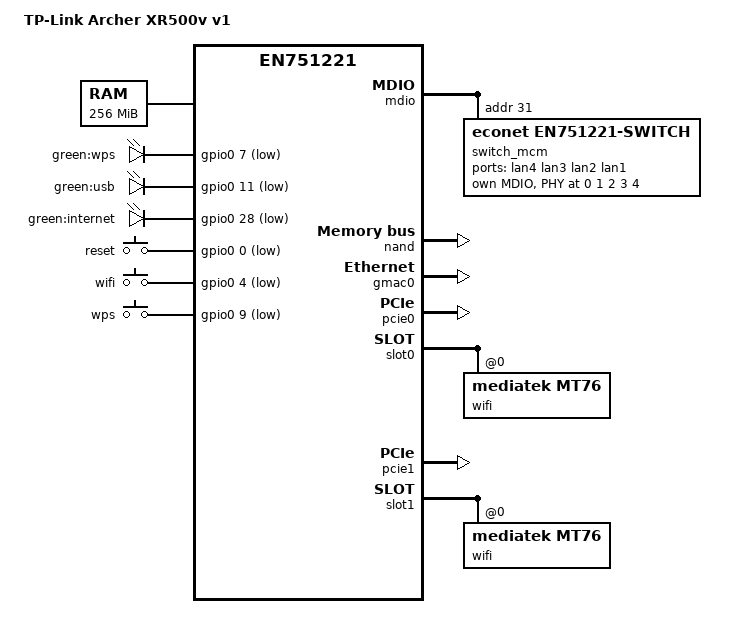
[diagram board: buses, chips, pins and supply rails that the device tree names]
// SPDX-License-Identifier: (GPL-2.0-only OR BSD-2-Clause)
/dts-v1/;

#include <dt-bindings/gpio/gpio.h>
#include <dt-bindings/input/input.h>

#include "en751221.dtsi"

/ {
	model = "TP-Link Archer XR500v v1";
	compatible = "tplink,archer-xr500v-v1", "econet,en751221";

	memory@0 {
		device_type = "memory";
		reg = <0x00000000 0x10000000>;
	};

	chosen {
		stdout-path = "/serial@1fbf0000:115200";
		linux,usable-memory-range = <0x00020000 0x0ffe0000>;
	};

	leds {
		compatible = "gpio-leds";

		led-wps {
			label = "green:wps";
			gpios = <&gpio0 7 GPIO_ACTIVE_LOW>;
		};

		led-usb {
			label = "green:usb";
			gpios = <&gpio0 11 GPIO_ACTIVE_LOW>;
		};

		led-internet {
			label = "green:internet";
			gpios = <&gpio0 28 GPIO_ACTIVE_LOW>;
		};
	};

	keys {
		compatible = "gpio-keys-polled";
		poll-interval = <20>;

		key-reset {
			label = "reset";
			linux,code = <KEY_RESTART>;
			gpios = <&gpio0 0 GPIO_ACTIVE_LOW>;
			debounce-interval = <60>;
		};

		key-wifi {
			label = "wifi";
			linux,code = <KEY_RFKILL>;
			gpios = <&gpio0 4 GPIO_ACTIVE_LOW>;
			debounce-interval = <60>;
		};

		key-wps {
			label = "wps";
			linux,code = <KEY_WPS_BUTTON>;
			gpios = <&gpio0 9 GPIO_ACTIVE_LOW>;
			debounce-interval = <60>;
		};
	};

	/*
	 * The EN751221 contains an on-die MT7530-class switch.  Its port 5
	 * cascades into the MCM switch, whose ports 1 through 4 are the four
	 * physical LAN jacks.  Port 6 of the on-die switch is the CPU conduit.
	 */
	switch_ondie: switch@1fb58000 {
		compatible = "econet,en751221-switch";
		reg = <0x1fb58000 0x8000>;
		resets = <&scuclk EN751221_GSW_RST>;
		#address-cells = <1>;
		#size-cells = <0>;
		dsa,member = <0 0>;

		ports {
			#address-cells = <1>;
			#size-cells = <0>;

			ondie_port5: port@5 {
				reg = <5>;
				phy-mode = "trgmii";
				link = <&mcm_port6>;

				fixed-link {
					speed = <1000>;
					full-duplex;
				};
			};

			port@6 {
				reg = <6>;
				label = "cpu";
				ethernet = <&gmac0>;
				phy-mode = "trgmii";

				fixed-link {
					speed = <1000>;
					full-duplex;
				};
			};
		};

		mdio {
			#address-cells = <1>;
			#size-cells = <0>;

			switch_mcm: switch@1f {
				compatible = "econet,en751221-switch";
				reg = <0x1f>;
				mediatek,mcm;
				#address-cells = <1>;
				#size-cells = <0>;
				dsa,member = <0 1>;

				ports {
					#address-cells = <1>;
					#size-cells = <0>;

					port@0 {
						reg = <0>;
						phy-mode = "gmii";
						phy-handle = <&mcmphy0>;
						status = "disabled";
					};

					port@1 {
						reg = <1>;
						label = "lan4";
						phy-mode = "gmii";
						phy-handle = <&mcmphy1>;
					};

					port@2 {
						reg = <2>;
						label = "lan3";
						phy-mode = "gmii";
						phy-handle = <&mcmphy2>;
					};

					port@3 {
						reg = <3>;
						label = "lan2";
						phy-mode = "gmii";
						phy-handle = <&mcmphy3>;
					};

					port@4 {
						reg = <4>;
						label = "lan1";
						phy-mode = "gmii";
						phy-handle = <&mcmphy4>;
					};

					mcm_port6: port@6 {
						reg = <6>;
						phy-mode = "trgmii";
						link = <&ondie_port5>;

						fixed-link {
							speed = <1000>;
							full-duplex;
						};
					};
				};

				mdio {
					#address-cells = <1>;
					#size-cells = <0>;

					mcmphy0: ethernet-phy@0 {
						compatible = "ethernet-phy-ieee802.3-c22";
						reg = <0>;
					};

					mcmphy1: ethernet-phy@1 {
						compatible = "ethernet-phy-ieee802.3-c22";
						reg = <1>;
					};

					mcmphy2: ethernet-phy@2 {
						compatible = "ethernet-phy-ieee802.3-c22";
						reg = <2>;
					};

					mcmphy3: ethernet-phy@3 {
						compatible = "ethernet-phy-ieee802.3-c22";
						reg = <3>;
					};

					mcmphy4: ethernet-phy@4 {
						compatible = "ethernet-phy-ieee802.3-c22";
						reg = <4>;
					};
				};
			};
		};
	};
};

&ethernet {
	/* The adjacent 0x1fb58000 window belongs exclusively to switch_ondie. */
	reg = <0x1fb50000 0x8000>;
	resets = <&scuclk EN751221_FE_RST>,
		 <&scuclk EN751221_FE_QDMA1_RST>,
		 <&scuclk EN751221_FE_QDMA2_RST>;
	reset-names = "fe", "qdma0", "qdma1";

	/delete-node/ mdio-bus;
};

&nand {
	status = "okay";
	econet,bmt;
	econet,esmt-f50l1g41a-oem-fdm;
	econet,bmt-write-through;
	/* Fail closed unless the OEM reserve geometry matches tested hardware. */
	econet,assert-reserve-size = <94>;

	partitions {
		compatible = "fixed-partitions";
		#address-cells = <1>;
		#size-cells = <1>;

		partition@0 {
			label = "bootloader";
			reg = <0x0 0x40000>;
			read-only;
		};

		partition@40000 {
			label = "romfile";
			reg = <0x40000 0x40000>;
			read-only;
		};

		partition@80000 {
			label = "kernel";
			reg = <0x80000 0x300000>;
			read-only;
		};

		partition@380000 {
			label = "rootfs_stock";
			reg = <0x380000 0x1000000>;
			read-only;
		};

		partition@1380000 {
			label = "misc";
			reg = <0x1380000 0x480000>;
			read-only;

			nvmem-layout {
				compatible = "fixed-layout";
				#address-cells = <1>;
				#size-cells = <1>;

				macaddr_misc_f100: macaddr@f100 {
					compatible = "mac-base";
					reg = <0xf100 0x6>;
					#nvmem-cell-cells = <1>;
				};

				eeprom_misc_e0000: eeprom@e0000 {
					reg = <0xe0000 0x200>;
				};
			};
		};

		partition@1800000 {
			label = "kernel1";
			reg = <0x1800000 0x300000>;
		};

		partition@1b00000 {
			label = "rootfs1";
			reg = <0x1b00000 0x1000000>;
			linux,rootfs;
		};

		partition@2b00000 {
			label = "others";
			reg = <0x2b00000 0x4e0000>;
			read-only;
		};

		partition@2fe0000 {
			label = "bootflag";
			reg = <0x2fe0000 0x20000>;
			read-only;
		};

		/*
		 * Dedicated OpenWrt overlay area in the OEM-unallocated NAND range.
		 * Keep this separate from the 16 MiB firmware slots and from the
		 * EN75 BMT reserve at the end of the device.
		 */
		partition@3000000 {
			label = "openwrt_ubi";
			reg = <0x3000000 0x4000000>;
		};
	};
};

&gmac0 {
	status = "okay";
	nvmem-cells = <&macaddr_misc_f100 0>;
	nvmem-cell-names = "mac-address";
};

&pcie0 {
	status = "okay";
	/* Opt in only this controller to the EN751221 config-TLP quirks. */
	econet,en751221-port0-quirks;
};

&slot0 {
	wifi@0,0 {
		compatible = "mediatek,mt76";
		reg = <0x0000 0 0 0 0>;

		/*
		 * MT7603 expects a 1 KiB EEPROM. mt76 zero-initializes that
		 * buffer before copying this compact 256-byte non-zero prefix;
		 * the resulting image is byte-identical to the reconstructed
		 * 1 KiB lab EEPROM. Runtime eFuse calibration is merged where
		 * the chip reports valid calibration-free fields.
		 */
		mediatek,eeprom-data = [
			03 76 00 00 02 76 03 50 00 01 00 00 00 00 00 00
			00 00 00 00 00 00 00 00 00 00 00 00 00 00 00 00
			00 00 00 00 00 00 00 00 00 00 00 00 00 00 00 00
			00 00 00 00 22 00 00 00 00 00 00 00 00 00 00 00
			00 00 00 00 00 00 00 00 00 00 00 00 00 00 00 00
			00 00 00 00 00 b8 40 c8 20 00 00 00 40 c8 20 00
			00 00 00 00 00 00 00 00 00 00 00 00 00 00 00 00
			00 00 00 00 00 00 00 00 00 00 00 00 00 00 00 00
			00 00 00 00 00 00 00 00 00 00 00 00 00 00 00 00
			00 00 00 00 00 00 00 00 00 00 00 00 00 00 00 00
			00 00 00 00 00 00 00 00 00 00 00 00 00 00 00 00
			00 00 00 00 00 00 00 00 00 00 00 00 00 00 00 00
			00 00 00 00 00 00 00 00 00 00 00 00 00 00 00 00
			00 00 00 00 00 00 00 00 00 00 00 00 00 00 00 00
			00 00 00 00 00 00 00 00 00 00 00 00 00 00 00 00
			05 00 00 00 a4 00 00 88 00 00 00 00 00 00 00 00
		];
		mediatek,eeprom-merge-otp;
		nvmem-cells = <&macaddr_misc_f100 1>;
		nvmem-cell-names = "mac-address";
	};
};

&pcie1 {
	status = "okay";
};

&slot1 {
	wifi@0,0 {
		compatible = "mediatek,mt76";
		reg = <0x0000 0 0 0 0>;
		nvmem-cells = <&eeprom_misc_e0000>, <&macaddr_misc_f100 2>;
		nvmem-cell-names = "eeprom", "mac-address";

		led {
			led-sources = <2>;
			led-active-low;
		};
	};
};

&usb {
	mediatek,u3p-dis-msk = <0x1>;
};
